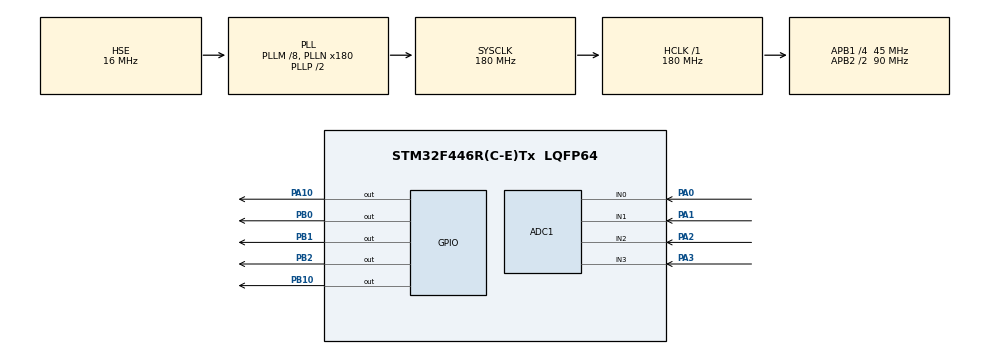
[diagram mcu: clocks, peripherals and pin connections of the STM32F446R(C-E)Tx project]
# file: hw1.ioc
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ADC1.Channel-0\#ChannelRegularConversion=ADC_CHANNEL_0
ADC1.Channel-1\#ChannelRegularConversion=ADC_CHANNEL_1
ADC1.Channel-2\#ChannelRegularConversion=ADC_CHANNEL_2
ADC1.Channel-3\#ChannelRegularConversion=ADC_CHANNEL_3
ADC1.DMAContinuousRequests=ENABLE
ADC1.ExternalTrigConv=ADC_EXTERNALTRIGCONV_T8_TRGO
ADC1.NbrOfConversion=4
ADC1.NbrOfConversionFlag=1
ADC1.Rank-0\#ChannelRegularConversion=1
ADC1.Rank-1\#ChannelRegularConversion=2
ADC1.Rank-2\#ChannelRegularConversion=3
ADC1.Rank-3\#ChannelRegularConversion=4
ADC1.SamplingTime-0\#ChannelRegularConversion=ADC_SAMPLETIME_15CYCLES
ADC1.SamplingTime-1\#ChannelRegularConversion=ADC_SAMPLETIME_15CYCLES
ADC1.SamplingTime-2\#ChannelRegularConversion=ADC_SAMPLETIME_15CYCLES
ADC1.SamplingTime-3\#ChannelRegularConversion=ADC_SAMPLETIME_15CYCLES
ADC1.ScanConvMode=ENABLE
ADC1.master=1
Dma.ADC1.0.Direction=DMA_PERIPH_TO_MEMORY
Dma.ADC1.0.FIFOMode=DMA_FIFOMODE_DISABLE
Dma.ADC1.0.Instance=DMA2_Stream0
Dma.ADC1.0.MemDataAlignment=DMA_MDATAALIGN_WORD
Dma.ADC1.0.MemInc=DMA_MINC_ENABLE
Dma.ADC1.0.Mode=DMA_CIRCULAR
Dma.ADC1.0.PeriphDataAlignment=DMA_PDATAALIGN_WORD
Dma.ADC1.0.PeriphInc=DMA_PINC_DISABLE
Dma.ADC1.0.Priority=DMA_PRIORITY_LOW
Dma.Request0=ADC1
Mcu.Family=STM32F4
Mcu.Name=STM32F446R(C-E)Tx
Mcu.Package=LQFP64
NVIC.ADC_IRQn=true\:0\:0\:false\:false\:true\:true\:true\:true
NVIC.DMA2_Stream0_IRQn=true\:0\:0\:false\:false\:true\:false\:true\:true
NVIC.PriorityGroup=NVIC_PRIORITYGROUP_4
NVIC.TIM6_DAC_IRQn=true\:0\:0\:false\:false\:true\:true\:true\:true
NVIC.TIM8_UP_TIM13_IRQn=true\:0\:0\:false\:false\:true\:true\:true\:true
PA0-WKUP.Signal=ADCx_IN0
PA1.Signal=ADCx_IN1
PA10.Signal=GPIO_Output
PA13.Mode=Serial_Wire
PA13.Signal=SYS_JTMS-SWDIO
PA14.Mode=Serial_Wire
PA14.Signal=SYS_JTCK-SWCLK
PA2.Signal=ADCx_IN2
PA3.Signal=ADCx_IN3
PB0.Signal=GPIO_Output
PB1.Signal=GPIO_Output
PB10.Signal=GPIO_Output
PB2.Signal=GPIO_Output
PH0-OSC_IN.Mode=HSE-External-Oscillator
PH0-OSC_IN.Signal=RCC_OSC_IN
PH1-OSC_OUT.Mode=HSE-External-Oscillator
PH1-OSC_OUT.Signal=RCC_OSC_OUT
ProjectManager.HeapSize=0x200
ProjectManager.StackSize=0x400
ProjectManager.TargetToolchain=STM32CubeIDE
RCC.AHBFreq_Value=180000000
RCC.APB1CLKDivider=RCC_HCLK_DIV4
RCC.APB1Freq_Value=45000000
RCC.APB1TimFreq_Value=90000000
RCC.APB2CLKDivider=RCC_HCLK_DIV2
RCC.APB2Freq_Value=90000000
RCC.APB2TimFreq_Value=180000000
RCC.CortexFreq_Value=180000000
RCC.HCLKFreq_Value=180000000
RCC.HSE_VALUE=16000000
RCC.PLLM=8
RCC.PLLN=180
RCC.PLLSourceVirtual=RCC_PLLSOURCE_HSE
RCC.SYSCLKFreq_VALUE=180000000
RCC.SYSCLKSource=RCC_SYSCLKSOURCE_PLLCLK
RCC.USBFreq_Value=180000000
RCC.VCOOutputFreq_Value=360000000
SH.ADCx_IN0.0=ADC1_IN0,IN0
SH.ADCx_IN1.0=ADC1_IN1,IN1
SH.ADCx_IN2.0=ADC1_IN2,IN2
SH.ADCx_IN3.0=ADC1_IN3,IN3
TIM6.Period=100-1
TIM6.Prescaler=90-1
TIM8.Period=10000-1
TIM8.Prescaler=180-1
TIM8.TIM_MasterOutputTrigger=TIM_TRGO_UPDATE
VP_TIM6_VS_ClockSourceINT.Mode=Enable_Timer
VP_TIM8_VS_ClockSourceINT.Mode=Internal
board=custom

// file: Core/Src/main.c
/* USER CODE BEGIN Header */
/**
  ******************************************************************************
  * @file           : main.c
  * @brief          : Main program body
  ******************************************************************************
  * @attention
  *
  * Copyright (c) 2026 STMicroelectronics.
  * All rights reserved.
  *
  * This software is licensed under terms that can be found in the LICENSE file
  * in the root directory of this software component.
  * If no LICENSE file comes with this software, it is provided AS-IS.
  *
  ******************************************************************************
  */
/* USER CODE END Header */
#include "main.h"
#include "adc.h"
#include "dma.h"
#include "tim.h"
#include "gpio.h"

/* USER CODE BEGIN PD */
#define RX_BUFFER_SIZE 256 // USART 수신 버퍼 크기
/* USER CODE END PD */

/* USER CODE BEGIN PV */
uint8_t PCrxBuffer[RX_BUFFER_SIZE];

uint16_t _500ms_count = 0; // 5ms타이머를 이용해서 0.5s를 만듦

uint8_t is_len_on = 0;

// 어제자 과제에서 가져옴
uint8_t SW_DATA; // sw 데이터. LSB(오른쪽)부터 PB12,13,14,15
/* USER CODE END PV */

void SystemClock_Config(void);
/* USER CODE BEGIN PFP */

// 스위치 데이터를 세팅하는 함수
void sw_data_set();

/* USER CODE END PFP */

int main(void)
{

  /* MCU Configuration--------------------------------------------------------*/

  /* Reset of all peripherals, Initializes the Flash interface and the Systick. */
  HAL_Init();

  /* Configure the system clock */
  SystemClock_Config();

  /* Initialize all configured peripherals */
  MX_GPIO_Init();
  MX_DMA_Init();
  MX_ADC1_Init();
  MX_TIM8_Init();
  MX_TIM6_Init();
  /* USER CODE BEGIN 2 */

  //timer6, 5ms period
  HAL_TIM_Base_Start_IT(&htim6);

  /* USER CODE END 2 */

  /* Infinite loop */
  while (1)
  {

  }
}

void SystemClock_Config(void)
{
  RCC_OscInitTypeDef RCC_OscInitStruct = {0};
  RCC_ClkInitTypeDef RCC_ClkInitStruct = {0};

  /** Configure the main internal regulator output voltage
  */
  __HAL_RCC_PWR_CLK_ENABLE();
  __HAL_PWR_VOLTAGESCALING_CONFIG(PWR_REGULATOR_VOLTAGE_SCALE1);

  /** Initializes the RCC Oscillators according to the specified parameters
  * in the RCC_OscInitTypeDef structure.
  */
  RCC_OscInitStruct.OscillatorType = RCC_OSCILLATORTYPE_HSE;
  RCC_OscInitStruct.HSEState = RCC_HSE_ON;
  RCC_OscInitStruct.PLL.PLLState = RCC_PLL_ON;
  RCC_OscInitStruct.PLL.PLLSource = RCC_PLLSOURCE_HSE;
  RCC_OscInitStruct.PLL.PLLM = 8;
  RCC_OscInitStruct.PLL.PLLN = 180;
  RCC_OscInitStruct.PLL.PLLP = RCC_PLLP_DIV2;
  RCC_OscInitStruct.PLL.PLLQ = 2;
  RCC_OscInitStruct.PLL.PLLR = 2;
  if (HAL_RCC_OscConfig(&RCC_OscInitStruct) != HAL_OK)
  {
    Error_Handler();
  }

  /** Activate the Over-Drive mode
  */
  if (HAL_PWREx_EnableOverDrive() != HAL_OK)
  {
    Error_Handler();
  }

  /** Initializes the CPU, AHB and APB buses clocks
  */
  RCC_ClkInitStruct.ClockType = RCC_CLOCKTYPE_HCLK|RCC_CLOCKTYPE_SYSCLK
                              |RCC_CLOCKTYPE_PCLK1|RCC_CLOCKTYPE_PCLK2;
  RCC_ClkInitStruct.SYSCLKSource = RCC_SYSCLKSOURCE_PLLCLK;
  RCC_ClkInitStruct.AHBCLKDivider = RCC_SYSCLK_DIV1;
  RCC_ClkInitStruct.APB1CLKDivider = RCC_HCLK_DIV4;
  RCC_ClkInitStruct.APB2CLKDivider = RCC_HCLK_DIV2;

  if (HAL_RCC_ClockConfig(&RCC_ClkInitStruct, FLASH_LATENCY_5) != HAL_OK)
  {
    Error_Handler();
  }
}

/* USER CODE BEGIN 4 */

// Timer6주기로 실행
void HAL_TIM_PeriodElapsedCallback(TIM_HandleTypeDef *htim)
{
	if(htim->Instance == TIM6)
	{
		_500ms_count++;

		if(_500ms_count >= 5000) // 0.5초 지남
		{
			_500ms_count = 0;
			sw_data_set(); // 스위치 값 읽어옴

			is_len_on++;
			is_len_on%=2; // 1을 이용해 토클

			if(SW_DATA & 0x01) HAL_GPIO_WritePin(GPIOB, GPIO_PIN_0, GPIO_PIN_SET);
			else HAL_GPIO_WritePin(GPIOB, GPIO_PIN_0, is_len_on);
			if(SW_DATA & 0x02) HAL_GPIO_WritePin(GPIOB, GPIO_PIN_1, GPIO_PIN_SET);
			else HAL_GPIO_WritePin(GPIOB, GPIO_PIN_1, is_len_on);
			if(SW_DATA & 0x04) HAL_GPIO_WritePin(GPIOB, GPIO_PIN_2, GPIO_PIN_SET);
			else HAL_GPIO_WritePin(GPIOB, GPIO_PIN_2, is_len_on);
			if(SW_DATA & 0x08) HAL_GPIO_WritePin(GPIOB, GPIO_PIN_10, GPIO_PIN_SET);
			else HAL_GPIO_WritePin(GPIOB, GPIO_PIN_10, is_len_on);
		}
	}
}

// 스위치 세팅
void sw_data_set(void) {
    if (HAL_GPIO_ReadPin(GPIOB, GPIO_PIN_12))
        SW_DATA |= 0x01;
    else
        SW_DATA &= ~(0x01);

    if (HAL_GPIO_ReadPin(GPIOB, GPIO_PIN_13))
        SW_DATA |= 0x02;
    else
        SW_DATA &= ~(0x02);

    if (HAL_GPIO_ReadPin(GPIOB, GPIO_PIN_14))
        SW_DATA |= 0x04;
    else
        SW_DATA &= ~(0x04);

    if (HAL_GPIO_ReadPin(GPIOB, GPIO_PIN_15))
        SW_DATA |= 0x08;
    else
        SW_DATA &= ~(0x08);
}

/* USER CODE END 4 */

void Error_Handler(void)
{
  __disable_irq();
  while (1)
  {
  }
}
